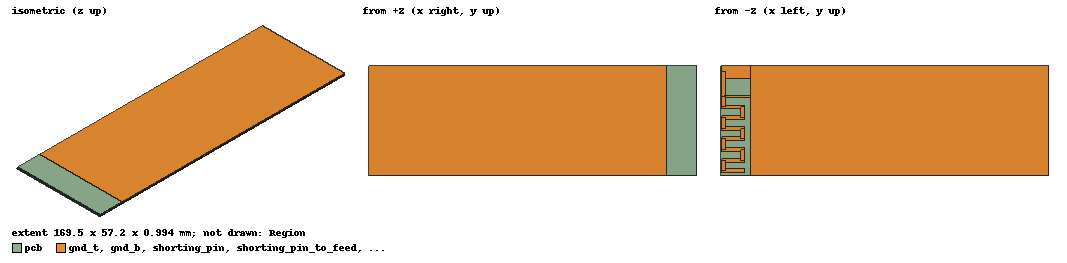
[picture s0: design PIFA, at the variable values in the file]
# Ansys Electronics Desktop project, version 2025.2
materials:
  vacuum: permittivity=1
  Megtron6_3313_Laminate: permittivity=3.71 dielectric_loss_tangent=0.002
  Megtron2_R1577: permittivity=4.1 dielectric_loss_tangent=0.01
  JLCPCB_3313: permittivity=4.1 dielectric_loss_tangent=0.02
  JLCPCB_FR4: permittivity=3.91 dielectric_loss_tangent=0.02
  JLCPCB_2116: permittivity=4.16 dielectric_loss_tangent=0.02
  copper: permeability=0.999991 conductivity=58000000

design PIFA (HFSS, HFSS Terminal Network, model units mm)
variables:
  feed_width = 0.8mm
  feed_height = 14mm
  segment_width = 2mm
  y_segment_length = 5.5mm
  x_segment_length = 10mm
  feed_start_y = 16.1mm
  y_segment_start = 57.2mm- feed_start_y
  x_segment_start = 154mm + feed_height
  shorting_pin_width = 7mm
  port_width = 0.2mm
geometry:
  pcb [JLCPCB_FR4] = box(corner=(0mm, 0mm, 0mm), size=(169.5mm, 57.2mm, 0.994mm))
  feed_segment = polyline((154mm + port_width, 57.2mm -  feed_start_y, 0mm) (154mm + port_width + feed_height, 57.2mm - feed_start_y, 0mm), section line width=feed_width)
  shorting_pin = polyline((154mm, 57.2 mm - (shorting_pin_width / 2), 0mm) (154mm + feed_height + (segment_width / 2), 57.2mm - (shorting_pin_width / 2), 0mm), section line width=shorting_pin_width)
  y_segment_1 = polyline((x_segment_start, y_segment_start, 0mm) (x_segment_start, y_segment_start - y_segment_length, 0mm), section line width=segment_width)
  x_segment_1 = polyline((x_segment_start + (segment_width / 2), y_segment_start - y_segment_length, 0mm) (x_segment_start - (segment_width / 2) - x_segment_length, y_segment_start - y_segment_length, 0mm), section line width=segment_width)
  y_segment_2 = polyline((x_segment_start - x_segment_length, y_segment_start - (y_segment_length * 1), 0mm) (x_segment_start - x_segment_length, y_segment_start - (y_segment_length * 2), 0mm), section line width=segment_width)
  x_segment_2 = polyline((x_segment_start + (segment_width / 2), y_segment_start - (y_segment_length * 2), 0mm) (x_segment_start - (segment_width / 2) - x_segment_length, y_segment_start - (y_segment_length * 2), 0mm), section line width=segment_width)
  y_segment_3 = polyline((x_segment_start, y_segment_start - (y_segment_length * 2), 0mm) (x_segment_start, y_segment_start - (y_segment_length * 3), 0mm), section line width=segment_width)
  x_segment_3 = polyline((x_segment_start + (segment_width / 2), y_segment_start - (y_segment_length * 3), 0mm) (x_segment_start - (segment_width / 2) - x_segment_length, y_segment_start - (y_segment_length * 3), 0mm), section line width=segment_width)
  y_segment_4 = polyline((x_segment_start - x_segment_length, y_segment_start - (y_segment_length * 3), 0mm) (x_segment_start - x_segment_length, y_segment_start - (y_segment_length * 4), 0mm), section line width=segment_width)
  x_segment_4 = polyline((x_segment_start + (segment_width / 2), y_segment_start - (y_segment_length * 4), 0mm) (x_segment_start - (segment_width / 2) - x_segment_length, y_segment_start - (y_segment_length * 4), 0mm), section line width=segment_width)
  y_segment_5 = polyline((x_segment_start, y_segment_start - (y_segment_length * 4), 0mm) (x_segment_start, y_segment_start - (y_segment_length * 5), 0mm), section line width=segment_width)
  Region [vacuum] = region(absolute_offset=15mm on all sides)
  gnd_t [JLCPCB_FR4] = object_from(pcb.face(-z))
  keepout = rectangle(corner=(154mm, 0mm, 0mm), x_size=15.5mm, y_size=57.2mm)
  gnd_t.subtract(keepout)
  gnd_b [JLCPCB_FR4] = object_from(pcb.face(+z))
  keepout_b = rectangle(corner=(154mm, 0mm, 0.994mm), x_size=15.5mm, y_size=57.2mm)
  gnd_b.subtract(keepout_b)
  via = cylinder(axis=Z, base_centre=(150mm, 50mm, 0mm), radius=0.3mm, height=0.994mm)
  via1 = cylinder(axis=Z, base_centre=(100mm, 40mm, 0mm), radius=0.3mm, height=0.994mm)
  via2 = cylinder(axis=Z, base_centre=(50mm, 30mm, 0mm), radius=0.3mm, height=0.994mm)
  via3 = cylinder(axis=Z, base_centre=(10mm, 20mm, 0mm), radius=0.3mm, height=0.994mm)
  pcb.subtract(via, via1, via2, via3)
  shorting_pin_to_feed = polyline((154mm + feed_height, 57.2mm - (shorting_pin_width / 2), 0mm) (154mm + feed_height, 57.2mm - feed_start_y - (feed_width / 2), 0mm), section line width=segment_width)
  port = rectangle(corner=(154mm + port_width, 57.2mm -  feed_start_y + (feed_width / 2), 0mm), x_size=-port_width, y_size=-feed_width)
  x_segment_5 = polyline((x_segment_start + (segment_width / 2), y_segment_start - (y_segment_length * 5), 0mm) (x_segment_start - (segment_width / 2) - x_segment_length, y_segment_start - (y_segment_length * 5), 0mm), section line width=segment_width)
  y_segment_6 = polyline((x_segment_start - x_segment_length, y_segment_start - (y_segment_length * 5), 0mm) (x_segment_start - x_segment_length, y_segment_start - (y_segment_length * 6), 0mm), section line width=segment_width)
  x_segment_6 = polyline((x_segment_start + (segment_width / 2), y_segment_start - (y_segment_length * 6), 0mm) (x_segment_start - (segment_width / 2) - x_segment_length, y_segment_start - (y_segment_length * 6), 0mm), section line width=segment_width)
  y_segment_7 = polyline((x_segment_start, y_segment_start - (y_segment_length * 6), 0mm) (x_segment_start, y_segment_start - (y_segment_length * 7), 0mm), section line width=segment_width)
  x_segment_7 = polyline((x_segment_start + (segment_width / 2), y_segment_start - (y_segment_length * 7), 0mm) (x_segment_start - (segment_width / 2) - x_segment_length, y_segment_start - (y_segment_length * 7), 0mm), section line width=segment_width)
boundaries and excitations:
  FE-BI: FE-BI Faces=Region.face(all 6) UseAdaptiveIE
  PerfE: Perfect E Objects=[feed_segment, gnd_b, gnd_t, shorting_pin, shorting_pin_to_feed, x_segment_1..x_segment_7, y_segment_1..y_segment_7]
  1: Lumped Port Objects=port LumpedPortType=Modal Modes{Mode1{IntLine{(154, 41.1, 0) -> (154.2, 41.1, 0)} CharImp=Zpi}} Impedance=50ohm
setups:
  Setup: HfssDriven Frequency=800MHz MaxDeltaS=0.01 MaximumPasses=50 MinimumPasses=1 MinimumConvergedPasses=1 PercentRefinement=30 BasisOrder=1 PortAccuracy=2 DrivenSolverType="Domain Decomposition" IterativeResidual=1e-06 DDMSolverResidual=0.0001
    sweep Sweep: 750MHz to 900MHz step 1MHz; Type=Discrete SaveFields
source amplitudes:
  1:1: 1V 0deg
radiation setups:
  Infinite Sphere: Infinite Sphere Theta=-180deg..180deg step 1deg Phi=-180deg..180deg step 1deg
  Antenna Parameter Overlay: Antenna Overlay  SetupID=1 Solution=830 IntrinsicVariation="Freq=0.826GHz" UseNominalDesign Calculations="Max U,Peak Directivity,Peak Gain,Peak Realized Gain,Radiated Power,Accepted Power,Incident Power,Radiation Efficiency,Total Efficiency,System Efficiency"
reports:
  S11: dB(S(1,1)) vs Freq on Setup : Sweep [shorting_pin_width=all]; markers m1 at 791MHz, m2 at 826.5MHz, m3 at 862MHz
  VSWR: VSWR(1) vs Freq on Setup : Sweep; markers m1 at 826.5MHz, m2 at 791MHz, m3 at 862MHz
  Z11: re(Z(1,1)), im(Z(1,1)) vs Freq on Setup : Sweep; markers MX1 at x=7.91e+08, MX2 at x=8.62e+08, MX3 at x=8.265e+08
